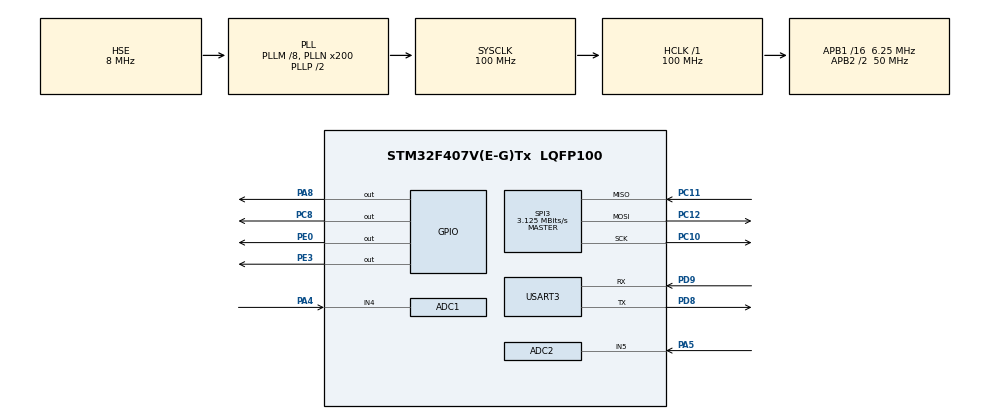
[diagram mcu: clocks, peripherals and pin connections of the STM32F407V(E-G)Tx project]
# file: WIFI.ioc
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ADC1.Channel-20\#ChannelRegularConversion=ADC_CHANNEL_4
ADC1.ClockPrescaler=ADC_CLOCK_SYNC_PCLK_DIV4
ADC1.NbrOfConversionFlag=1
ADC1.Rank-20\#ChannelRegularConversion=1
ADC1.SamplingTime-20\#ChannelRegularConversion=ADC_SAMPLETIME_3CYCLES
ADC1.master=1
ADC2.Channel-0\#ChannelRegularConversion=ADC_CHANNEL_5
ADC2.ClockPrescaler=ADC_CLOCK_SYNC_PCLK_DIV4
ADC2.NbrOfConversionFlag=1
ADC2.Rank-0\#ChannelRegularConversion=1
ADC2.SamplingTime-0\#ChannelRegularConversion=ADC_SAMPLETIME_3CYCLES
Mcu.Family=STM32F4
Mcu.Name=STM32F407V(E-G)Tx
Mcu.Package=LQFP100
NVIC.PriorityGroup=NVIC_PRIORITYGROUP_4
PA4.Signal=ADCx_IN4
PA5.Signal=ADCx_IN5
PA8.PinState=GPIO_PIN_SET
PA8.Signal=GPIO_Output
PC10.Mode=Full_Duplex_Master
PC10.Signal=SPI3_SCK
PC11.Mode=Full_Duplex_Master
PC11.Signal=SPI3_MISO
PC12.Mode=Full_Duplex_Master
PC12.Signal=SPI3_MOSI
PC8.Signal=GPIO_Output
PD8.Mode=Asynchronous
PD8.Signal=USART3_TX
PD9.Mode=Asynchronous
PD9.Signal=USART3_RX
PE0.Signal=GPIO_Output
PE3.Signal=GPIO_Output
PH0-OSC_IN.Mode=HSE-External-Oscillator
PH0-OSC_IN.Signal=RCC_OSC_IN
PH1-OSC_OUT.Mode=HSE-External-Oscillator
PH1-OSC_OUT.Signal=RCC_OSC_OUT
ProjectManager.HeapSize=0x200
ProjectManager.StackSize=0x400
ProjectManager.TargetToolchain=MDK-ARM V5
RCC.48MHZClocksFreq_Value=50000000
RCC.AHBFreq_Value=100000000
RCC.APB1CLKDivider=RCC_HCLK_DIV16
RCC.APB1Freq_Value=6250000
RCC.APB1TimFreq_Value=12500000
RCC.APB2CLKDivider=RCC_HCLK_DIV2
RCC.APB2Freq_Value=50000000
RCC.APB2TimFreq_Value=100000000
RCC.CortexFreq_Value=100000000
RCC.HCLKFreq_Value=100000000
RCC.HSE_VALUE=8000000
RCC.HSI_VALUE=16000000
RCC.LSE_VALUE=32768
RCC.PLLM=8
RCC.PLLN=200
RCC.PLLSourceVirtual=RCC_PLLSOURCE_HSE
RCC.SYSCLKFreq_VALUE=100000000
RCC.SYSCLKSource=RCC_SYSCLKSOURCE_PLLCLK
RCC.VCOOutputFreq_Value=200000000
SH.ADCx_IN4.0=ADC1_IN4,IN4
SH.ADCx_IN5.0=ADC2_IN5,IN5
SPI3.CalculateBaudRate=3.125 MBits/s
SPI3.Direction=SPI_DIRECTION_2LINES
SPI3.Mode=SPI_MODE_MASTER
SPI3.VirtualType=VM_MASTER
USART3.VirtualMode=VM_ASYNC
board=WIFI

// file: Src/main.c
/**
  ******************************************************************************
  * File Name          : main.c
  * Description        : Main program body
  ******************************************************************************
  ** This notice applies to any and all portions of this file
  * that are not between comment pairs USER CODE BEGIN and
  * USER CODE END. Other portions of this file, whether
  * inserted by the user or by software development tools
  * are owned by their respective copyright owners.
  *
  * COPYRIGHT(c) 2018 STMicroelectronics
  *
  * Redistribution and use in source and binary forms, with or without modification,
  * are permitted provided that the following conditions are met:
  *   1. Redistributions of source code must retain the above copyright notice,
  *      this list of conditions and the following disclaimer.
  *   2. Redistributions in binary form must reproduce the above copyright notice,
  *      this list of conditions and the following disclaimer in the documentation
  *      and/or other materials provided with the distribution.
  *   3. Neither the name of STMicroelectronics nor the names of its contributors
  *      may be used to endorse or promote products derived from this software
  *      without specific prior written permission.
  *
  * THIS SOFTWARE IS PROVIDED BY THE COPYRIGHT HOLDERS AND CONTRIBUTORS "AS IS"
  * AND ANY EXPRESS OR IMPLIED WARRANTIES, INCLUDING, BUT NOT LIMITED TO, THE
  * IMPLIED WARRANTIES OF MERCHANTABILITY AND FITNESS FOR A PARTICULAR PURPOSE ARE
  * DISCLAIMED. IN NO EVENT SHALL THE COPYRIGHT HOLDER OR CONTRIBUTORS BE LIABLE
  * FOR ANY DIRECT, INDIRECT, INCIDENTAL, SPECIAL, EXEMPLARY, OR CONSEQUENTIAL
  * DAMAGES (INCLUDING, BUT NOT LIMITED TO, PROCUREMENT OF SUBSTITUTE GOODS OR
  * SERVICES; LOSS OF USE, DATA, OR PROFITS; OR BUSINESS INTERRUPTION) HOWEVER
  * CAUSED AND ON ANY THEORY OF LIABILITY, WHETHER IN CONTRACT, STRICT LIABILITY,
  * OR TORT (INCLUDING NEGLIGENCE OR OTHERWISE) ARISING IN ANY WAY OUT OF THE USE
  * OF THIS SOFTWARE, EVEN IF ADVISED OF THE POSSIBILITY OF SUCH DAMAGE.
  *
  ******************************************************************************
  */
#include "main.h"
#include "stm32f4xx_hal.h"
#include "adc.h"
#include "spi.h"
#include "usart.h"
#include "gpio.h"
#include "stdio.h"
#include "string.h"

/* USER CODE BEGIN PV */
/* Private variables ---------------------------------------------------------*/

/* USER CODE END PV */

void SystemClock_Config(void);

/* USER CODE BEGIN PFP */
/* Private function prototypes -----------------------------------------------*/

/* USER CODE END PFP */

int main(void)
{

  /* USER CODE BEGIN 1 */
#define TXBUFFERSIZE                      (COUNTOF(aTxBuffer1) - 1)
#define RXBUFFERSIZE                      TXBUFFERSIZE
#define COUNTOF(__BUFFER__)   (sizeof(__BUFFER__) / sizeof(*(__BUFFER__)))
  /* USER CODE END 1 */

  /* MCU Configuration----------------------------------------------------------*/

  /* Reset of all peripherals, Initializes the Flash interface and the Systick. */
  HAL_Init();

  /* Configure the system clock */
  SystemClock_Config();

  /* Initialize all configured peripherals */
  MX_GPIO_Init();
  MX_ADC1_Init();
  MX_ADC2_Init();
  MX_SPI3_Init();
  MX_USART3_UART_Init();

  /* Infinite loop */
  /* USER CODE BEGIN WHILE */

	__IO uint8_t data_send[10] = {0,7,165,0,10,5,6,7,8,9}, data_get[10] = {7,85,165,0,10,5,6,7,8,9};

	//HAL_GPIO_WritePin(GPIOE, GPIO_PIN_0, GPIO_PIN_RESET);
	//HAL_Delay(1000);
	HAL_SPI_Transmit(&hspi3,(uint8_t*) data_send,1,200);
	while(HAL_SPI_GetState(&hspi3)!=HAL_SPI_STATE_READY)
	{
		HAL_SPI_Receive(&hspi3,(uint8_t*) data_get,1,100);
	}

	uint8_t aTxBuffer1[] = " HELLO, WORLD! ";
	uint8_t aTxBuffer2[] = " FUCK YOU HAH! ";
	uint8_t aTxBuffer3[] = " BUTTON PRESSED";
	uint8_t aRxBuffer[RXBUFFERSIZE];

  while (1)
  {
		//HAL_UART_Transmit(&huart3, (uint8_t*)aTxBuffer1, TXBUFFERSIZE, 1000);
		//HAL_Delay(1000);
		HAL_UART_Receive(&huart3, (uint8_t *)aRxBuffer, RXBUFFERSIZE, 300);

		if (strncmp((char *)aRxBuffer, "ON", 2) == 0) {
			HAL_UART_Transmit(&huart3, (uint8_t*)aTxBuffer1, TXBUFFERSIZE, 300);
			while (strncmp((char *)aRxBuffer, "OFF", 3) != 0)
			{
			HAL_GPIO_WritePin(GPIOE, GPIO_PIN_0, GPIO_PIN_RESET);
			HAL_Delay(100);
			HAL_GPIO_WritePin(GPIOE, GPIO_PIN_0, GPIO_PIN_SET);
			HAL_Delay(100);
			HAL_UART_Receive(&huart3, (uint8_t *)aRxBuffer, RXBUFFERSIZE, 300);
			}
		}
		if (strncmp((char *)aRxBuffer, "OFF", 3) == 0) {
			HAL_UART_Transmit(&huart3, (uint8_t*)aTxBuffer2, TXBUFFERSIZE, 300);
			HAL_GPIO_WritePin(GPIOE, GPIO_PIN_0, GPIO_PIN_SET);
		}
//		if (HAL_GPIO_ReadPin(GPIOE, GPIO_PIN_15)==GPIO_PIN_RESET)
//		{
//			HAL_UART_Transmit(&huart3, (uint8_t*)aTxBuffer3, TXBUFFERSIZE, 100);
//			HAL_GPIO_WritePin(GPIOE, GPIO_PIN_0, GPIO_PIN_RESET);
//		}
		HAL_SPI_Transmit(&hspi3,(uint8_t*) data_get,1,100);// uint8_t *pData, uint16_t Size, uint32_t Timeout
		while(HAL_SPI_GetState(&hspi3)!=HAL_SPI_STATE_READY);

  /* USER CODE END WHILE */

  }

}

/** System Clock Configuration
*/
void SystemClock_Config(void)
{

  RCC_OscInitTypeDef RCC_OscInitStruct;
  RCC_ClkInitTypeDef RCC_ClkInitStruct;

    /**Configure the main internal regulator output voltage
    */
  __HAL_RCC_PWR_CLK_ENABLE();

  __HAL_PWR_VOLTAGESCALING_CONFIG(PWR_REGULATOR_VOLTAGE_SCALE1);

    /**Initializes the CPU, AHB and APB busses clocks
    */
  RCC_OscInitStruct.OscillatorType = RCC_OSCILLATORTYPE_HSE;
  RCC_OscInitStruct.HSEState = RCC_HSE_ON;
  RCC_OscInitStruct.PLL.PLLState = RCC_PLL_ON;
  RCC_OscInitStruct.PLL.PLLSource = RCC_PLLSOURCE_HSE;
  RCC_OscInitStruct.PLL.PLLM = 8;
  RCC_OscInitStruct.PLL.PLLN = 200;
  RCC_OscInitStruct.PLL.PLLP = RCC_PLLP_DIV2;
  RCC_OscInitStruct.PLL.PLLQ = 4;
  if (HAL_RCC_OscConfig(&RCC_OscInitStruct) != HAL_OK)
  {
    _Error_Handler(__FILE__, __LINE__);
  }

    /**Initializes the CPU, AHB and APB busses clocks
    */
  RCC_ClkInitStruct.ClockType = RCC_CLOCKTYPE_HCLK|RCC_CLOCKTYPE_SYSCLK
                              |RCC_CLOCKTYPE_PCLK1|RCC_CLOCKTYPE_PCLK2;
  RCC_ClkInitStruct.SYSCLKSource = RCC_SYSCLKSOURCE_PLLCLK;
  RCC_ClkInitStruct.AHBCLKDivider = RCC_SYSCLK_DIV1;
  RCC_ClkInitStruct.APB1CLKDivider = RCC_HCLK_DIV16;
  RCC_ClkInitStruct.APB2CLKDivider = RCC_HCLK_DIV2;

  if (HAL_RCC_ClockConfig(&RCC_ClkInitStruct, FLASH_LATENCY_3) != HAL_OK)
  {
    _Error_Handler(__FILE__, __LINE__);
  }

    /**Configure the Systick interrupt time
    */
  HAL_SYSTICK_Config(HAL_RCC_GetHCLKFreq()/1000);

    /**Configure the Systick
    */
  HAL_SYSTICK_CLKSourceConfig(SYSTICK_CLKSOURCE_HCLK);

  /* SysTick_IRQn interrupt configuration */
  HAL_NVIC_SetPriority(SysTick_IRQn, 0, 0);
}

void _Error_Handler(char * file, int line)
{
  while(1)
  {
  }
}

/************************ (C) COPYRIGHT STMicroelectronics *****END OF FILE****/
